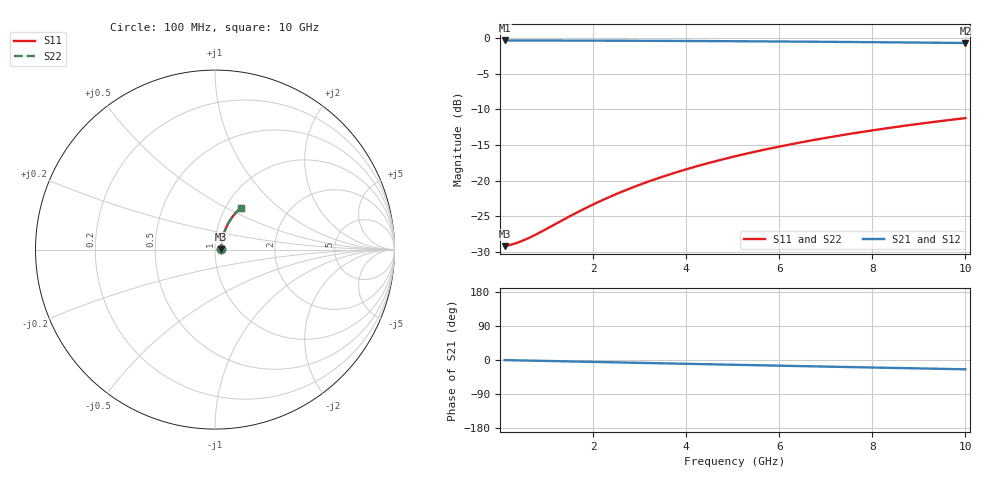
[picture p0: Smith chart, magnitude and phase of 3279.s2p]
# Hz S RI R 50.00
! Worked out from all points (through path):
!   100 points, 100 MHz to 10 GHz, reference 50 ohm
!   highest |S21| = -0.30 dB at 100 MHz (marker M1); lowest = -0.7 dB at 10 GHz (marker M2)
!   group delay of S21, straight-line fit = 6.83 ps
!   lowest |S11| = -29.2 dB at 100 MHz (marker M3), VSWR 1.07, Z = 53.6 + j0.294 ohm
!   |S11| at or under -10 dB: start of sweep to end of sweep
!   |S22| runs from -29.2 to -11.2 dB; largest |S21 - S12| = 0
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1e8  0.0344 0.00274  0.9656 -0.00425  0.9656 -0.00425  0.0344 0.00274
3e8  0.0349 0.0082  0.9651 -0.0127  0.9651 -0.0127  0.0349 0.0082
4e8  0.0351 0.0109  0.9649 -0.017  0.9649 -0.017  0.0351 0.0109
6e8  0.0356 0.0164  0.9644 -0.0255  0.9644 -0.0255  0.0356 0.0164
9e8  0.0363 0.0245  0.9635 -0.0381  0.9635 -0.0381  0.0363 0.0245
1.5e9  0.0384 0.0408  0.9613 -0.0635  0.9613 -0.0635  0.0384 0.0408
1.8e9  0.0397 0.0488  0.9599 -0.076  0.9599 -0.076  0.0397 0.0488
2.2e9  0.0418 0.0595  0.9576 -0.0928  0.9576 -0.0928  0.0418 0.0595
2.6e9  0.0442 0.0701  0.9549 -0.1094  0.9549 -0.1094  0.0442 0.0701
3e9  0.047 0.0806  0.9519 -0.1259  0.9519 -0.1259  0.047 0.0806
3.4e9  0.0501 0.0909  0.9485 -0.1424  0.9485 -0.1424  0.0501 0.0909
3.8e9  0.0536 0.1012  0.9447 -0.1586  0.9447 -0.1586  0.0536 0.1012
4.2e9  0.0574 0.1112  0.9405 -0.1748  0.9405 -0.1748  0.0574 0.1112
4.6e9  0.0616 0.1211  0.9359 -0.1907  0.9359 -0.1907  0.0616 0.1211
5.1e9  0.0672 0.1333  0.9297 -0.2104  0.9297 -0.2104  0.0672 0.1333
5.5e9  0.0721 0.1427  0.9244 -0.226  0.9244 -0.226  0.0721 0.1427
5.9e9  0.0772 0.152  0.9186 -0.2413  0.9186 -0.2413  0.0772 0.152
6.7e9  0.0884 0.1699  0.9062 -0.2714  0.9062 -0.2714  0.0884 0.1699
7.5e9  0.1007 0.1869  0.8926 -0.3006  0.8926 -0.3006  0.1007 0.1869
8.4e9  0.1158 0.2048  0.8759 -0.3322  0.8759 -0.3322  0.1158 0.2048
9.2e9  0.1301 0.2195  0.8599 -0.3591  0.8599 -0.3591  0.1301 0.2195
1e10  0.1452 0.2331  0.8429 -0.385  0.8429 -0.385  0.1452 0.2331
